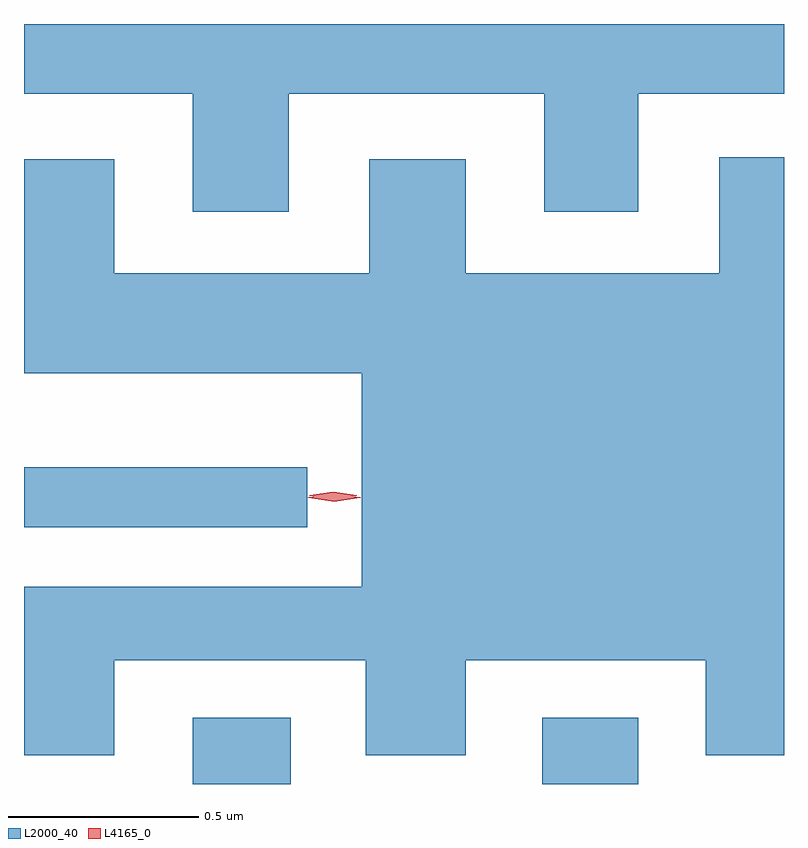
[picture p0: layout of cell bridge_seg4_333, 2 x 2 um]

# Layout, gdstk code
import gdstk
lib = gdstk.Library(unit=1e-6, precision=1e-09)
def R(c, l, rs):  # rectangles x0, y0, x1, y1
    for r in rs: c.add(gdstk.rectangle(r[:2], r[2:], *l))
def P(c, l, *ps):  # polygons
    for p in ps: c.add(gdstk.Polygon(p, *l))
L2000_40 = (2000, 40)
L4165_0 = (4165, 0)

bridge_seg4_333 = lib.new_cell('bridge_seg4_333')
R(bridge_seg4_333, L2000_40, [(753.796,1281.82,754.054,1281.994), (754.716,1281.82,754.969,1281.994), (753.352,1282.496,754.098,1282.654)])
P(bridge_seg4_333, L2000_40, [(754.049,1283.636),(754.721,1283.636),(754.721,1283.326),(754.969,1283.326),(754.969,1283.636),(755.352,1283.636),(755.352,1283.82),(753.352,1283.82),(753.352,1283.636),(753.796,1283.636),(753.796,1283.326),(754.049,1283.326)],
  [(753.589,1282.146),(754.251,1282.146),(754.251,1281.896),(754.514,1281.896),(754.514,1282.146),(755.146,1282.146),(755.146,1281.896),(755.352,1281.896),(755.352,1283.469),(755.181,1283.469),(755.181,1283.164),(754.514,1283.164),(754.514,1283.464),(754.261,1283.464),(754.261,1283.164),(753.589,1283.164),(753.589,1283.464),(753.352,1283.464),(753.352,1282.901),(754.241,1282.901),(754.241,1282.339),(753.352,1282.339),(753.352,1281.896),(753.589,1281.896)])
P(bridge_seg4_333, L4165_0, [(754.166,1282.569),(754.104,1282.578),(754.103,1282.579),(754.104,1282.58),(754.166,1282.589),(754.227,1282.58),(754.228,1282.58),(754.227,1282.579)],
  [(754.169,1282.563),(754.1,1282.573),(754.1,1282.573),(754.1,1282.574),(754.169,1282.583),(754.237,1282.574),(754.238,1282.573),(754.237,1282.573)])

lib.write_gds('bridge_seg4_333.gds')
